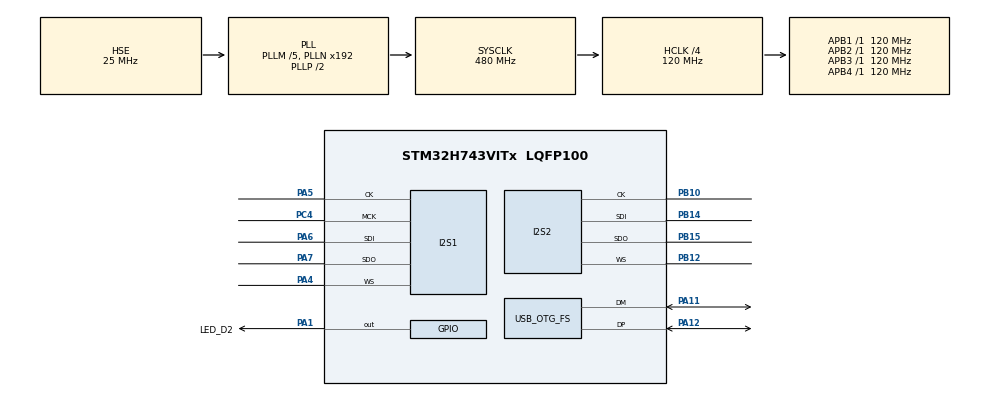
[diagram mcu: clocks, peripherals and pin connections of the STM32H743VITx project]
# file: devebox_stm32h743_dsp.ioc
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Dma.Request0=SPI2_RX
Dma.Request1=SPI2_TX
Dma.Request2=SPI1_RX
Dma.Request3=SPI1_TX
Dma.SPI1_RX.2.Direction=DMA_PERIPH_TO_MEMORY
Dma.SPI1_RX.2.EventEnable=DISABLE
Dma.SPI1_RX.2.FIFOMode=DMA_FIFOMODE_DISABLE
Dma.SPI1_RX.2.Instance=DMA1_Stream2
Dma.SPI1_RX.2.MemDataAlignment=DMA_MDATAALIGN_BYTE
Dma.SPI1_RX.2.MemInc=DMA_MINC_ENABLE
Dma.SPI1_RX.2.Mode=DMA_CIRCULAR
Dma.SPI1_RX.2.PeriphDataAlignment=DMA_PDATAALIGN_BYTE
Dma.SPI1_RX.2.PeriphInc=DMA_PINC_DISABLE
Dma.SPI1_RX.2.Polarity=HAL_DMAMUX_REQ_GEN_RISING
Dma.SPI1_RX.2.Priority=DMA_PRIORITY_LOW
Dma.SPI1_RX.2.RequestNumber=1
Dma.SPI1_RX.2.SignalID=NONE
Dma.SPI1_RX.2.SyncEnable=DISABLE
Dma.SPI1_RX.2.SyncPolarity=HAL_DMAMUX_SYNC_NO_EVENT
Dma.SPI1_RX.2.SyncRequestNumber=1
Dma.SPI1_RX.2.SyncSignalID=NONE
Dma.SPI1_TX.3.Direction=DMA_MEMORY_TO_PERIPH
Dma.SPI1_TX.3.EventEnable=DISABLE
Dma.SPI1_TX.3.FIFOMode=DMA_FIFOMODE_DISABLE
Dma.SPI1_TX.3.Instance=DMA1_Stream3
Dma.SPI1_TX.3.MemDataAlignment=DMA_MDATAALIGN_BYTE
Dma.SPI1_TX.3.MemInc=DMA_MINC_ENABLE
Dma.SPI1_TX.3.Mode=DMA_NORMAL
Dma.SPI1_TX.3.PeriphDataAlignment=DMA_PDATAALIGN_BYTE
Dma.SPI1_TX.3.PeriphInc=DMA_PINC_DISABLE
Dma.SPI1_TX.3.Polarity=HAL_DMAMUX_REQ_GEN_RISING
Dma.SPI1_TX.3.Priority=DMA_PRIORITY_LOW
Dma.SPI1_TX.3.RequestNumber=1
Dma.SPI1_TX.3.SignalID=NONE
Dma.SPI1_TX.3.SyncEnable=DISABLE
Dma.SPI1_TX.3.SyncPolarity=HAL_DMAMUX_SYNC_NO_EVENT
Dma.SPI1_TX.3.SyncRequestNumber=1
Dma.SPI1_TX.3.SyncSignalID=NONE
Dma.SPI2_RX.0.Direction=DMA_PERIPH_TO_MEMORY
Dma.SPI2_RX.0.EventEnable=DISABLE
Dma.SPI2_RX.0.FIFOMode=DMA_FIFOMODE_DISABLE
Dma.SPI2_RX.0.Instance=DMA1_Stream0
Dma.SPI2_RX.0.MemDataAlignment=DMA_MDATAALIGN_BYTE
Dma.SPI2_RX.0.MemInc=DMA_MINC_ENABLE
Dma.SPI2_RX.0.Mode=DMA_CIRCULAR
Dma.SPI2_RX.0.PeriphDataAlignment=DMA_PDATAALIGN_BYTE
Dma.SPI2_RX.0.PeriphInc=DMA_PINC_DISABLE
Dma.SPI2_RX.0.Polarity=HAL_DMAMUX_REQ_GEN_RISING
Dma.SPI2_RX.0.Priority=DMA_PRIORITY_LOW
Dma.SPI2_RX.0.RequestNumber=1
Dma.SPI2_RX.0.SignalID=NONE
Dma.SPI2_RX.0.SyncEnable=DISABLE
Dma.SPI2_RX.0.SyncPolarity=HAL_DMAMUX_SYNC_NO_EVENT
Dma.SPI2_RX.0.SyncRequestNumber=1
Dma.SPI2_RX.0.SyncSignalID=NONE
Dma.SPI2_TX.1.Direction=DMA_MEMORY_TO_PERIPH
Dma.SPI2_TX.1.EventEnable=DISABLE
Dma.SPI2_TX.1.FIFOMode=DMA_FIFOMODE_DISABLE
Dma.SPI2_TX.1.Instance=DMA1_Stream1
Dma.SPI2_TX.1.MemDataAlignment=DMA_MDATAALIGN_BYTE
Dma.SPI2_TX.1.MemInc=DMA_MINC_ENABLE
Dma.SPI2_TX.1.Mode=DMA_NORMAL
Dma.SPI2_TX.1.PeriphDataAlignment=DMA_PDATAALIGN_BYTE
Dma.SPI2_TX.1.PeriphInc=DMA_PINC_DISABLE
Dma.SPI2_TX.1.Polarity=HAL_DMAMUX_REQ_GEN_RISING
Dma.SPI2_TX.1.Priority=DMA_PRIORITY_LOW
Dma.SPI2_TX.1.RequestNumber=1
Dma.SPI2_TX.1.SignalID=NONE
Dma.SPI2_TX.1.SyncEnable=DISABLE
Dma.SPI2_TX.1.SyncPolarity=HAL_DMAMUX_SYNC_NO_EVENT
Dma.SPI2_TX.1.SyncRequestNumber=1
Dma.SPI2_TX.1.SyncSignalID=NONE
I2S1.AudioFreq=I2S_AUDIOFREQ_96K
I2S1.Data24BitAlignment=I2S_DATA_24BIT_ALIGNMENT_RIGHT
I2S1.DataFormat=I2S_DATAFORMAT_24B
I2S1.ErrorAudioFreq=-2.34 %
I2S1.FullDuplexMode=I2S_MODE_MASTER_FD
I2S1.Instance=SPI$Index
I2S1.RealAudioFreq=93.75 KHz
I2S1.VirtualMode=I2S_MODE_MASTER
I2S2.AudioFreq=I2S_AUDIOFREQ_96K
I2S2.DataFormat=I2S_DATAFORMAT_24B
I2S2.ErrorAudioFreq=0.15 %
I2S2.FullDuplexMode=I2S_MODE_MASTER_FD
I2S2.Instance=SPI$Index
I2S2.RealAudioFreq=96.153 KHz
I2S2.VirtualMode=I2S_MODE_MASTER
Mcu.Family=STM32H7
Mcu.Name=STM32H743VITx
Mcu.Package=LQFP100
NVIC.DMA1_Stream0_IRQn=true\:0\:0\:false\:false\:true\:false\:true
NVIC.DMA1_Stream1_IRQn=true\:0\:0\:false\:false\:true\:false\:true
NVIC.DMA1_Stream2_IRQn=true\:0\:0\:false\:false\:true\:false\:true
NVIC.DMA1_Stream3_IRQn=true\:0\:0\:false\:false\:true\:false\:true
NVIC.PriorityGroup=NVIC_PRIORITYGROUP_4
PA1.GPIO_Label=LED_D2
PA1.Signal=GPIO_Output
PA11.Mode=Host_Only
PA11.Signal=USB_OTG_FS_DM
PA12.Mode=Host_Only
PA12.Signal=USB_OTG_FS_DP
PA4.Mode=Full_Duplex_Master
PA4.Signal=I2S1_WS
PA5.Mode=Full_Duplex_Master
PA5.Signal=I2S1_CK
PA6.Mode=Full_Duplex_Master
PA6.Signal=I2S1_SDI
PA7.Mode=Full_Duplex_Master
PA7.Signal=I2S1_SDO
PB10.Mode=Full_Duplex_Master
PB10.Signal=I2S2_CK
PB12.Mode=Full_Duplex_Master
PB12.Signal=I2S2_WS
PB14.Mode=Full_Duplex_Master
PB14.Signal=I2S2_SDI
PB15.Mode=Full_Duplex_Master
PB15.Signal=I2S2_SDO
PC14-OSC32_IN\ (OSC32_IN).Mode=LSE-External-Oscillator
PC14-OSC32_IN\ (OSC32_IN).Signal=RCC_OSC32_IN
PC15-OSC32_OUT\ (OSC32_OUT).Mode=LSE-External-Oscillator
PC15-OSC32_OUT\ (OSC32_OUT).Signal=RCC_OSC32_OUT
PC4.Mode=Master_Clock_Activated
PC4.Signal=I2S1_MCK
PH0-OSC_IN\ (PH0).Mode=HSE-External-Oscillator
PH0-OSC_IN\ (PH0).Signal=RCC_OSC_IN
PH1-OSC_OUT\ (PH1).Mode=HSE-External-Oscillator
PH1-OSC_OUT\ (PH1).Signal=RCC_OSC_OUT
ProjectManager.HeapSize=0x200
ProjectManager.StackSize=0x400
ProjectManager.TargetToolchain=STM32CubeIDE
RCC.ADCFreq_Value=50390625
RCC.APB1Freq_Value=120000000
RCC.APB2Freq_Value=120000000
RCC.APB3Freq_Value=120000000
RCC.APB4Freq_Value=120000000
RCC.CortexFreq_Value=480000000
RCC.DIVM1=5
RCC.DIVN1=192
RCC.HCLKFreq_Value=120000000
RCC.HPRE=RCC_HCLK_DIV4
RCC.HSE_VALUE=25000000
RCC.PLLFRACN=0
RCC.PLLSourceVirtual=RCC_PLLSOURCE_HSE
RCC.SYSCLKFreq_VALUE=480000000
RCC.SYSCLKSource=RCC_SYSCLKSOURCE_PLLCLK
RCC.USBCLockSelection=RCC_USBCLKSOURCE_HSI48
RCC.USBFreq_Value=48000000
USB_OTG_FS.VirtualMode=Host_Only
USB_OTG_FS.phy_itface=HCD_PHY_EMBEDDED
board=custom

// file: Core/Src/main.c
/* USER CODE BEGIN Header */
/**
  ******************************************************************************
  * @file           : main.c
  * @brief          : Main program body
  ******************************************************************************
  * @attention
  *
  * <h2><center>&copy; Copyright (c) 2020 STMicroelectronics.
  * All rights reserved.</center></h2>
  *
  * This software component is licensed by ST under BSD 3-Clause license,
  * the "License"; You may not use this file except in compliance with the
  * License. You may obtain a copy of the License at:
  *                        opensource.org/licenses/BSD-3-Clause
  *
  ******************************************************************************
  */
/* USER CODE END Header */
#include "main.h"

I2S_HandleTypeDef hi2s1;
I2S_HandleTypeDef hi2s2;
DMA_HandleTypeDef hdma_spi1_rx;
DMA_HandleTypeDef hdma_spi1_tx;
DMA_HandleTypeDef hdma_spi2_rx;
DMA_HandleTypeDef hdma_spi2_tx;

HCD_HandleTypeDef hhcd_USB_OTG_FS;

void SystemClock_Config(void);
static void MX_GPIO_Init(void);
static void MX_DMA_Init(void);
static void MX_USB_OTG_FS_HCD_Init(void);
static void MX_I2S1_Init(void);
static void MX_I2S2_Init(void);

/* USER CODE BEGIN 0 */
float l_a0, l_a1, l_a2, l_b1, l_b2, lin_z1, lin_z2, lout_z1, lout_z2;
float r_a0, r_a1, r_a2, r_b1, r_b2, rin_z1, rin_z2, rout_z1, rout_z2;

uint16_t rxBuf[8];
uint16_t txBuf[8];
/* USER CODE END 0 */

int main(void)
{

  /* MCU Configuration--------------------------------------------------------*/

  /* Reset of all peripherals, Initializes the Flash interface and the Systick. */
  HAL_Init();

  /* Configure the system clock */
  SystemClock_Config();

  /* Initialize all configured peripherals */
  MX_GPIO_Init();
  MX_DMA_Init();
  MX_USB_OTG_FS_HCD_Init();
  MX_I2S1_Init();
  MX_I2S2_Init();
  /* USER CODE BEGIN 2 */
  HAL_I2SEx_TransmitReceive_DMA (&hi2s2, txBuf, rxBuf, 4);
  //left-channel, High-Pass, 1kHz, fs=96kHz, q=0.7

  l_a0 = 0.9543457485325094f;
  l_a1 = -1.9086914970650188f;
  l_a2 = 0.9543457485325094f;
  l_b1 = -1.9066459797557103f;
  l_b2 = 0.9107370143743273f;

  //right-channel, Low-Pass, 1kHz, fs)96 kHz, q=0.7
  r_a0 = 0.0010227586546542474f;
  r_a1 = 0.002045517309308495f;
  r_a2 = 0.0010227586546542474f;
  r_b1 = -1.9066459797557103f;
  r_b2 = 0.9107370143743273f;

  /* USER CODE END 2 */

  /* Infinite loop */
  while (1)
  {

  }
}
int Calc_IIR_Left (int inSample) {
	float inSampleF = (float)inSample;
	float outSampleF =
			l_a0 * inSampleF
			+ l_a1 * lin_z1
			+ l_a2 * lin_z2
			- l_b1 * lout_z1
			- l_b2 * lout_z2;
	lin_z2 = lin_z1;
	lin_z1 = inSampleF;
	lout_z2 = lout_z1;
	lout_z1 = outSampleF;

	return (int) outSampleF;
}

int Calc_IIR_Right (int inSample) {
	float inSampleF = (float)inSample;
	float outSampleF =
			r_a0 * inSampleF
			+ r_a1 * rin_z1
			+ r_a2 * rin_z2
			- r_b1 * rout_z1
			- r_b2 * rout_z2;
	rin_z2 = rin_z1;
	rin_z1 = inSampleF;
	rout_z2 = rout_z1;
	rout_z1 = outSampleF;

	return (int) outSampleF;
}

void HAL_I2SEx_TxRxHalfCpltCallback(I2S_HandleTypeDef *hi2s){

	//restore signed 24 bit sample from 16-bit buffers
	int lSample = (int) (rxBuf[0]<<16)|rxBuf[1];
	int rSample = (int) (rxBuf[2]<<16)|rxBuf[3];

	// divide by 2 (rightshift) -> -3dB per sample
	lSample = lSample>>1;
	rSample = rSample>>1;

	//sum to mono
	lSample = rSample + lSample;
	rSample = lSample;

	//run HP on left channel and LP on right channel
	lSample = Calc_IIR_Left(lSample);
	rSample = Calc_IIR_Right(rSample);

	//restore to buffer
	txBuf[0] = (lSample>>16)&0xFFFF;
	txBuf[1] = lSample&0xFFFF;
	txBuf[2] = (rSample>>16)&0xFFFF;
	txBuf[3] = rSample&0xFFFF;
}

void HAL_I2SEx_TxRxCpltCallback(I2S_HandleTypeDef *hi2s){

	//restore signed 24 bit sample from 16-bit buffers
	int lSample = (int) (rxBuf[4]<<16)|rxBuf[5];
	int rSample = (int) (rxBuf[6]<<16)|rxBuf[7];

	// divide by 2 (rightshift) -> -3dB per sample
	lSample = lSample>>1;
	rSample = rSample>>1;

	//sum to mono
	lSample = rSample + lSample;
	rSample = lSample;

	//run HP on left channel and LP on right channel
	lSample = Calc_IIR_Left(lSample);
	rSample = Calc_IIR_Right(rSample);

	//restore to buffer
	txBuf[4] = (lSample>>16)&0xFFFF;
	txBuf[5] = lSample&0xFFFF;
	txBuf[6] = (rSample>>16)&0xFFFF;
	txBuf[7] = rSample&0xFFFF;
}

void SystemClock_Config(void)
{
  RCC_OscInitTypeDef RCC_OscInitStruct = {0};
  RCC_ClkInitTypeDef RCC_ClkInitStruct = {0};
  RCC_PeriphCLKInitTypeDef PeriphClkInitStruct = {0};

  /** Supply configuration update enable
  */
  HAL_PWREx_ConfigSupply(PWR_LDO_SUPPLY);
  /** Configure the main internal regulator output voltage
  */
  __HAL_PWR_VOLTAGESCALING_CONFIG(PWR_REGULATOR_VOLTAGE_SCALE0);

  while(!__HAL_PWR_GET_FLAG(PWR_FLAG_VOSRDY)) {}
  /** Initializes the RCC Oscillators according to the specified parameters
  * in the RCC_OscInitTypeDef structure.
  */
  RCC_OscInitStruct.OscillatorType = RCC_OSCILLATORTYPE_HSI48|RCC_OSCILLATORTYPE_HSE;
  RCC_OscInitStruct.HSEState = RCC_HSE_ON;
  RCC_OscInitStruct.HSI48State = RCC_HSI48_ON;
  RCC_OscInitStruct.PLL.PLLState = RCC_PLL_ON;
  RCC_OscInitStruct.PLL.PLLSource = RCC_PLLSOURCE_HSE;
  RCC_OscInitStruct.PLL.PLLM = 5;
  RCC_OscInitStruct.PLL.PLLN = 192;
  RCC_OscInitStruct.PLL.PLLP = 2;
  RCC_OscInitStruct.PLL.PLLQ = 2;
  RCC_OscInitStruct.PLL.PLLR = 2;
  RCC_OscInitStruct.PLL.PLLRGE = RCC_PLL1VCIRANGE_2;
  RCC_OscInitStruct.PLL.PLLVCOSEL = RCC_PLL1VCOWIDE;
  RCC_OscInitStruct.PLL.PLLFRACN = 0;
  if (HAL_RCC_OscConfig(&RCC_OscInitStruct) != HAL_OK)
  {
    Error_Handler();
  }
  /** Initializes the CPU, AHB and APB buses clocks
  */
  RCC_ClkInitStruct.ClockType = RCC_CLOCKTYPE_HCLK|RCC_CLOCKTYPE_SYSCLK
                              |RCC_CLOCKTYPE_PCLK1|RCC_CLOCKTYPE_PCLK2
                              |RCC_CLOCKTYPE_D3PCLK1|RCC_CLOCKTYPE_D1PCLK1;
  RCC_ClkInitStruct.SYSCLKSource = RCC_SYSCLKSOURCE_PLLCLK;
  RCC_ClkInitStruct.SYSCLKDivider = RCC_SYSCLK_DIV1;
  RCC_ClkInitStruct.AHBCLKDivider = RCC_HCLK_DIV4;
  RCC_ClkInitStruct.APB3CLKDivider = RCC_APB3_DIV1;
  RCC_ClkInitStruct.APB1CLKDivider = RCC_APB1_DIV1;
  RCC_ClkInitStruct.APB2CLKDivider = RCC_APB2_DIV1;
  RCC_ClkInitStruct.APB4CLKDivider = RCC_APB4_DIV1;

  if (HAL_RCC_ClockConfig(&RCC_ClkInitStruct, FLASH_LATENCY_1) != HAL_OK)
  {
    Error_Handler();
  }
  PeriphClkInitStruct.PeriphClockSelection = RCC_PERIPHCLK_SPI1|RCC_PERIPHCLK_SPI2
                              |RCC_PERIPHCLK_USB;
  PeriphClkInitStruct.Spi123ClockSelection = RCC_SPI123CLKSOURCE_PLL;
  PeriphClkInitStruct.UsbClockSelection = RCC_USBCLKSOURCE_HSI48;
  if (HAL_RCCEx_PeriphCLKConfig(&PeriphClkInitStruct) != HAL_OK)
  {
    Error_Handler();
  }
  /** Enable USB Voltage detector
  */
  HAL_PWREx_EnableUSBVoltageDetector();
}

static void MX_I2S1_Init(void)
{

  hi2s1.Instance = SPI1;
  hi2s1.Init.Mode = I2S_MODE_MASTER_TX;
  hi2s1.Init.Standard = I2S_STANDARD_PHILIPS;
  hi2s1.Init.DataFormat = I2S_DATAFORMAT_24B;
  hi2s1.Init.MCLKOutput = I2S_MCLKOUTPUT_ENABLE;
  hi2s1.Init.AudioFreq = I2S_AUDIOFREQ_96K;
  hi2s1.Init.CPOL = I2S_CPOL_LOW;
  hi2s1.Init.FirstBit = I2S_FIRSTBIT_MSB;
  hi2s1.Init.WSInversion = I2S_WS_INVERSION_DISABLE;
  hi2s1.Init.Data24BitAlignment = I2S_DATA_24BIT_ALIGNMENT_RIGHT;
  hi2s1.Init.MasterKeepIOState = I2S_MASTER_KEEP_IO_STATE_DISABLE;
  if (HAL_I2S_Init(&hi2s1) != HAL_OK)
  {
    Error_Handler();
  }

}

static void MX_I2S2_Init(void)
{

  hi2s2.Instance = SPI2;
  hi2s2.Init.Mode = I2S_MODE_MASTER_TX;
  hi2s2.Init.Standard = I2S_STANDARD_PHILIPS;
  hi2s2.Init.DataFormat = I2S_DATAFORMAT_24B;
  hi2s2.Init.MCLKOutput = I2S_MCLKOUTPUT_DISABLE;
  hi2s2.Init.AudioFreq = I2S_AUDIOFREQ_96K;
  hi2s2.Init.CPOL = I2S_CPOL_LOW;
  hi2s2.Init.FirstBit = I2S_FIRSTBIT_MSB;
  hi2s2.Init.WSInversion = I2S_WS_INVERSION_DISABLE;
  hi2s2.Init.Data24BitAlignment = I2S_DATA_24BIT_ALIGNMENT_RIGHT;
  hi2s2.Init.MasterKeepIOState = I2S_MASTER_KEEP_IO_STATE_DISABLE;
  if (HAL_I2S_Init(&hi2s2) != HAL_OK)
  {
    Error_Handler();
  }

}

static void MX_USB_OTG_FS_HCD_Init(void)
{

  hhcd_USB_OTG_FS.Instance = USB_OTG_FS;
  hhcd_USB_OTG_FS.Init.Host_channels = 16;
  hhcd_USB_OTG_FS.Init.speed = HCD_SPEED_FULL;
  hhcd_USB_OTG_FS.Init.dma_enable = DISABLE;
  hhcd_USB_OTG_FS.Init.phy_itface = HCD_PHY_EMBEDDED;
  hhcd_USB_OTG_FS.Init.Sof_enable = DISABLE;
  if (HAL_HCD_Init(&hhcd_USB_OTG_FS) != HAL_OK)
  {
    Error_Handler();
  }

}

static void MX_DMA_Init(void)
{

  /* DMA controller clock enable */
  __HAL_RCC_DMA1_CLK_ENABLE();

  /* DMA interrupt init */
  /* DMA1_Stream0_IRQn interrupt configuration */
  HAL_NVIC_SetPriority(DMA1_Stream0_IRQn, 0, 0);
  HAL_NVIC_EnableIRQ(DMA1_Stream0_IRQn);
  /* DMA1_Stream1_IRQn interrupt configuration */
  HAL_NVIC_SetPriority(DMA1_Stream1_IRQn, 0, 0);
  HAL_NVIC_EnableIRQ(DMA1_Stream1_IRQn);
  /* DMA1_Stream2_IRQn interrupt configuration */
  HAL_NVIC_SetPriority(DMA1_Stream2_IRQn, 0, 0);
  HAL_NVIC_EnableIRQ(DMA1_Stream2_IRQn);
  /* DMA1_Stream3_IRQn interrupt configuration */
  HAL_NVIC_SetPriority(DMA1_Stream3_IRQn, 0, 0);
  HAL_NVIC_EnableIRQ(DMA1_Stream3_IRQn);

}

static void MX_GPIO_Init(void)
{
  GPIO_InitTypeDef GPIO_InitStruct = {0};

  /* GPIO Ports Clock Enable */
  __HAL_RCC_GPIOC_CLK_ENABLE();
  __HAL_RCC_GPIOH_CLK_ENABLE();
  __HAL_RCC_GPIOA_CLK_ENABLE();
  __HAL_RCC_GPIOB_CLK_ENABLE();

  /*Configure GPIO pin Output Level */
  HAL_GPIO_WritePin(LED_D2_GPIO_Port, LED_D2_Pin, GPIO_PIN_RESET);

  /*Configure GPIO pin : LED_D2_Pin */
  GPIO_InitStruct.Pin = LED_D2_Pin;
  GPIO_InitStruct.Mode = GPIO_MODE_OUTPUT_PP;
  GPIO_InitStruct.Pull = GPIO_NOPULL;
  GPIO_InitStruct.Speed = GPIO_SPEED_FREQ_LOW;
  HAL_GPIO_Init(LED_D2_GPIO_Port, &GPIO_InitStruct);

}

void Error_Handler(void)
{
  __disable_irq();
  while (1)
  {
  }
}

/************************ (C) COPYRIGHT STMicroelectronics *****END OF FILE****/
